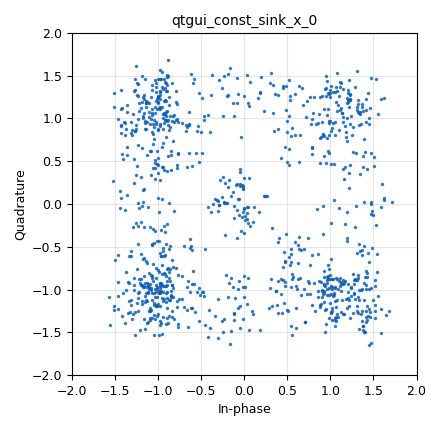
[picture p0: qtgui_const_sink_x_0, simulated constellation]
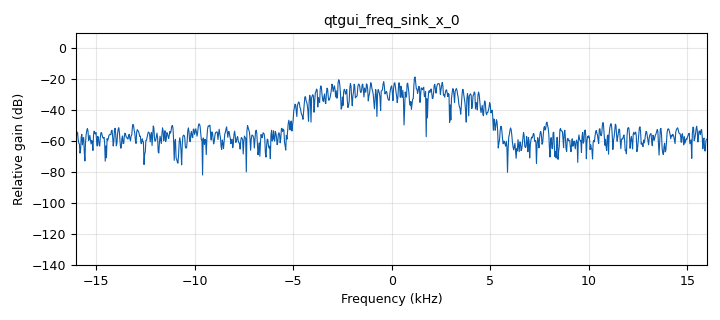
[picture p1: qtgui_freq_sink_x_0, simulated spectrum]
<?xml version='1.0' encoding='utf-8'?>
<flow_graph>
<block>
<key>options</key>
<param><key>id</key><value>mpsk_demod</value></param>
<param><key>title</key><value>MPSK Demod Demo</value></param>
<param><key>generate_options</key><value>qt_gui</value></param>
<param><key>category</key><value>Custom</value></param>
</block>
<block>
<key>variable</key>
<param><key>id</key><value>samp_rate</value></param>
<param><key>value</key><value>32000</value></param>
</block>
<block>
<key>variable</key>
<param><key>id</key><value>samps_per_sym</value></param>
<param><key>value</key><value>4</value></param>
</block>
<block>
<key>analog_random_source_x</key>
<param><key>id</key><value>analog_random_source_x_0</value></param>
<param><key>type</key><value>byte</value></param>
<param><key>min</key><value>0</value></param>
<param><key>max</key><value>2**8</value></param>
<param><key>num_samps</key><value>10000</value></param>
<param><key>repeat</key><value>True</value></param>
</block>
<block>
<key>qtgui_const_sink_x</key>
<param><key>id</key><value>qtgui_const_sink_x_0</value></param>
<param><key>type</key><value>complex</value></param>
<param><key>name</key><value></value></param>
<param><key>size</key><value>1024</value></param>
<param><key>gui_hint</key><value>notebook@0</value></param>
</block>
<block>
<key>qtgui_freq_sink_x</key>
<param><key>id</key><value>qtgui_freq_sink_x_0</value></param>
<param><key>type</key><value>complex</value></param>
<param><key>name</key><value></value></param>
<param><key>fftsize</key><value>1024</value></param>
<param><key>wintype</key><value>firdes.WIN_BLACKMAN_hARRIS</value></param>
<param><key>fc</key><value>0</value></param>
<param><key>bw</key><value>samp_rate</value></param>
<param><key>gui_hint</key><value>notebook@1</value></param>
<param><key>showports</key><value>True</value></param>
</block>
<block>
<key>digital_dxpsk_mod</key>
<param><key>id</key><value>digital_dxpsk_mod_0</value></param>
<param><key>type</key><value>dqpsk</value></param>
<param><key>samples_per_symbol</key><value>samps_per_sym</value></param>
<param><key>excess_bw</key><value>0.35</value></param>
<param><key>mod_code</key><value>"gray"</value></param>
<param><key>verbose</key><value>False</value></param>
<param><key>log</key><value>False</value></param>
</block>
<block>
<key>blocks_throttle</key>
<param><key>id</key><value>blocks_throttle_0</value></param>
<param><key>type</key><value>complex</value></param>
<param><key>samples_per_second</key><value>samp_rate</value></param>
</block>
<block>
<key>channels_channel_model</key>
<param><key>id</key><value>channels_channel_model_0</value></param>
<param><key>noise_voltage</key><value>noise</value></param>
<param><key>freq_offset</key><value>freq_off</value></param>
<param><key>epsilon</key><value>1.0</value></param>
<param><key>taps</key><value>1.0 + 1.0j</value></param>
<param><key>seed</key><value>0</value></param>
</block>
<block>
<key>variable_qtgui_range</key>
<param><key>id</key><value>freq_off</value></param>
<param><key>label</key><value>Freq. Offset</value></param>
<param><key>value</key><value>0</value></param>
<param><key>start</key><value>-0.5</value></param>
<param><key>stop</key><value>0.5</value></param>
<param><key>step</key><value>0.01</value></param>
<param><key>orient</key><value>Qt.Horizontal</value></param>
<param><key>gui_hint</key><value>1,1,1,1</value></param>
</block>
<block>
<key>variable_qtgui_range</key>
<param><key>id</key><value>noise</value></param>
<param><key>label</key><value>Noise</value></param>
<param><key>value</key><value>0.1</value></param>
<param><key>start</key><value>0</value></param>
<param><key>stop</key><value>1</value></param>
<param><key>step</key><value>0.01</value></param>
<param><key>orient</key><value>Qt.Horizontal</value></param>
<param><key>gui_hint</key><value>1,0,1,1</value></param>
</block>
<block>
<key>qtgui_tab_widget</key>
<param><key>id</key><value>notebook</value></param>
<param><key>num_tabs</key><value>2</value></param>
<param><key>label0</key><value>Constellation</value></param>
<param><key>label1</key><value>Spectrum</value></param>
<param><key>gui_hint</key><value>0,0,1,2</value></param>
</block>
<connection><source_block_id>analog_random_source_x_0</source_block_id><sink_block_id>digital_dxpsk_mod_0</sink_block_id><source_key>0</source_key><sink_key>0</sink_key></connection>
<connection><source_block_id>blocks_throttle_0</source_block_id><sink_block_id>qtgui_freq_sink_x_0</sink_block_id><source_key>0</source_key><sink_key>0</sink_key></connection>
<connection><source_block_id>blocks_throttle_0</source_block_id><sink_block_id>qtgui_const_sink_x_0</sink_block_id><source_key>0</source_key><sink_key>0</sink_key></connection>
<connection><source_block_id>digital_dxpsk_mod_0</source_block_id><sink_block_id>channels_channel_model_0</sink_block_id><source_key>0</source_key><sink_key>0</sink_key></connection>
<connection><source_block_id>channels_channel_model_0</source_block_id><sink_block_id>blocks_throttle_0</sink_block_id><source_key>0</source_key><sink_key>0</sink_key></connection>
</flow_graph>
